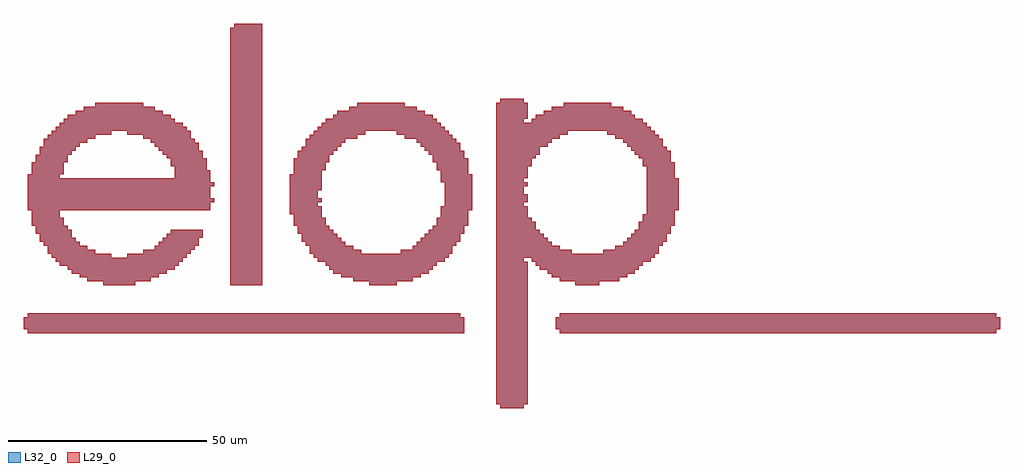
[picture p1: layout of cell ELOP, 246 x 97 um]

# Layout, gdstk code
import gdstk
lib = gdstk.Library(unit=1e-6, precision=1e-09)
def P(c, l, *ps):  # polygons
    for p in ps: c.add(gdstk.Polygon(p, *l))
L29_0 = (29, 0)
L32_0 = (32, 0)

elop = lib.new_cell('ELOP')
P(elop, L29_0, [(-125,-28.5),(-125,-27.5),(-126,-27.5),(-126,-24.5),(-125,-24.5),(-125,-23.5),(-16,-23.5),(-16,-24.5),(-15,-24.5),(-15,-28.5)],
  [(9,-28.5),(9,-27.5),(8,-27.5),(8,-24.5),(9,-24.5),(9,-23.5),(119,-23.5),(119,-24.5),(120,-24.5),(120,-27.5),(119,-27.5),(119,-28.5)],
  [(-106,-16.5),(-106,-15.5),(-110,-15.5),(-110,-14.5),(-112,-14.5),(-112,-13.5),(-114,-13.5),(-114,-12.5),(-115,-12.5),(-115,-11.5),(-117,-11.5),(-117,-10.5),(-118,-10.5),(-118,-9.5),(-119,-9.5),(-119,-8.5),(-120,-8.5),(-120,-6.5),(-121,-6.5),(-121,-5.5),(-122,-5.5),(-122,-3.5),(-123,-3.5),(-123,-1.5),(-124,-1.5),(-124,2.5),(-125,2.5),(-125,11.5),(-124,11.5),(-124,14.5),(-123,14.5),(-123,16.5),(-122,16.5),(-122,18.5),(-121,18.5),(-121,20.5),(-120,20.5),(-120,21.5),(-119,21.5),(-119,22.5),(-104,22.5),(-104,21.5),(-108,21.5),(-108,20.5),(-110,20.5),(-110,19.5),(-112,19.5),(-112,18.5),(-113,18.5),(-113,17.5),(-114,17.5),(-114,16.5),(-115,16.5),(-115,14.5),(-116,14.5),(-116,11.5),(-117,11.5),(-117,10.5),(-88,10.5),(-88,13.5),(-89,13.5),(-89,15.5),(-90,15.5),(-90,16.5),(-91,16.5),(-91,17.5),(-92,17.5),(-92,18.5),(-93,18.5),(-93,19.5),(-94,19.5),(-94,20.5),(-96,20.5),(-96,21.5),(-100,21.5),(-100,22.5),(-118,22.5),(-118,23.5),(-117,23.5),(-117,24.5),(-116,24.5),(-116,25.5),(-115,25.5),(-115,26.5),(-113,26.5),(-113,27.5),(-111,27.5),(-111,28.5),(-108,28.5),(-108,29.5),(-96,29.5),(-96,28.5),(-93,28.5),(-93,27.5),(-91,27.5),(-91,26.5),(-89,26.5),(-89,25.5),(-88,25.5),(-88,24.5),(-86,24.5),(-86,23.5),(-85,23.5),(-85,22.5),(-84,22.5),(-84,20.5),(-83,20.5),(-83,19.5),(-82,19.5),(-82,17.5),(-81,17.5),(-81,15.5),(-80,15.5),(-80,12.5),(-79,12.5),(-79,9.5),(-78,9.5),(-78,8.5),(-79,8.5),(-79,5.5),(-78,5.5),(-78,4.5),(-79,4.5),(-79,2.5),(-117,2.5),(-117,0.5),(-116,0.5),(-116,-1.5),(-115,-1.5),(-115,-2.5),(-114,-2.5),(-114,-4.5),(-113,-4.5),(-113,-5.5),(-112,-5.5),(-112,-6.5),(-110,-6.5),(-110,-7.5),(-108,-7.5),(-108,-8.5),(-104,-8.5),(-104,-9.5),(-100,-9.5),(-100,-8.5),(-96,-8.5),(-96,-7.5),(-93,-7.5),(-93,-6.5),(-92,-6.5),(-92,-5.5),(-91,-5.5),(-91,-4.5),(-90,-4.5),(-90,-3.5),(-89,-3.5),(-89,-2.5),(-81,-2.5),(-81,-4.5),(-82,-4.5),(-82,-6.5),(-83,-6.5),(-83,-7.5),(-84,-7.5),(-84,-8.5),(-85,-8.5),(-85,-9.5),(-86,-9.5),(-86,-10.5),(-87,-10.5),(-87,-11.5),(-88,-11.5),(-88,-12.5),(-90,-12.5),(-90,-13.5),(-92,-13.5),(-92,-14.5),(-94,-14.5),(-94,-15.5),(-98,-15.5),(-98,-16.5)],
  [(-39,-16.5),(-39,-15.5),(-43,-15.5),(-43,-14.5),(-46,-14.5),(-46,-13.5),(-48,-13.5),(-48,-12.5),(-49,-12.5),(-49,-11.5),(-50,-11.5),(-50,-10.5),(-52,-10.5),(-52,-9.5),(-53,-9.5),(-53,-8.5),(-54,-8.5),(-54,-6.5),(-55,-6.5),(-55,-5.5),(-56,-5.5),(-56,-3.5),(-57,-3.5),(-57,-1.5),(-58,-1.5),(-58,1.5),(-59,1.5),(-59,11.5),(-58,11.5),(-58,15.5),(-57,15.5),(-57,17.5),(-56,17.5),(-56,18.5),(-55,18.5),(-55,20.5),(-54,20.5),(-54,21.5),(-53,21.5),(-53,22.5),(-40,22.5),(-40,21.5),(-42,21.5),(-42,20.5),(-45,20.5),(-45,19.5),(-46,19.5),(-46,18.5),(-47,18.5),(-47,17.5),(-48,17.5),(-48,16.5),(-49,16.5),(-49,14.5),(-50,14.5),(-50,12.5),(-51,12.5),(-51,7.5),(-52,7.5),(-52,5.5),(-51,5.5),(-51,4.5),(-52,4.5),(-52,3.5),(-51,3.5),(-51,0.5),(-50,0.5),(-50,-1.5),(-49,-1.5),(-49,-2.5),(-48,-2.5),(-48,-3.5),(-47,-3.5),(-47,-4.5),(-46,-4.5),(-46,-5.5),(-45,-5.5),(-45,-6.5),(-43,-6.5),(-43,-7.5),(-41,-7.5),(-41,-8.5),(-31,-8.5),(-31,-7.5),(-28,-7.5),(-28,-6.5),(-27,-6.5),(-27,-5.5),(-26,-5.5),(-26,-4.5),(-25,-4.5),(-25,-3.5),(-24,-3.5),(-24,-2.5),(-23,-2.5),(-23,-1.5),(-22,-1.5),(-22,0.5),(-21,0.5),(-21,3.5),(-20,3.5),(-20,9.5),(-21,9.5),(-21,12.5),(-22,12.5),(-22,14.5),(-23,14.5),(-23,16.5),(-24,16.5),(-24,17.5),(-25,17.5),(-25,18.5),(-26,18.5),(-26,19.5),(-27,19.5),(-27,20.5),(-30,20.5),(-30,21.5),(-32,21.5),(-32,22.5),(-52,22.5),(-52,23.5),(-51,23.5),(-51,24.5),(-50,24.5),(-50,25.5),(-48,25.5),(-48,26.5),(-47,26.5),(-47,27.5),(-44,27.5),(-44,28.5),(-42,28.5),(-42,29.5),(-30,29.5),(-30,28.5),(-27,28.5),(-27,27.5),(-25,27.5),(-25,26.5),(-23,26.5),(-23,25.5),(-22,25.5),(-22,24.5),(-21,24.5),(-21,23.5),(-20,23.5),(-20,22.5),(-19,22.5),(-19,21.5),(-18,21.5),(-18,20.5),(-17,20.5),(-17,19.5),(-16,19.5),(-16,17.5),(-15,17.5),(-15,15.5),(-14,15.5),(-14,11.5),(-13,11.5),(-13,2.5),(-14,2.5),(-14,-1.5),(-15,-1.5),(-15,-3.5),(-16,-3.5),(-16,-5.5),(-17,-5.5),(-17,-6.5),(-18,-6.5),(-18,-8.5),(-19,-8.5),(-19,-9.5),(-20,-9.5),(-20,-10.5),(-22,-10.5),(-22,-11.5),(-23,-11.5),(-23,-12.5),(-24,-12.5),(-24,-13.5),(-26,-13.5),(-26,-14.5),(-28,-14.5),(-28,-15.5),(-32,-15.5),(-32,-16.5)],
  [(-6,-47.5),(-6,-46.5),(-7,-46.5),(-7,22.5),(11,22.5),(11,21.5),(9,21.5),(9,20.5),(7,20.5),(7,19.5),(6,19.5),(6,18.5),(4,18.5),(4,16.5),(3,16.5),(3,15.5),(2,15.5),(2,13.5),(1,13.5),(1,10.5),(0,10.5),(0,9.5),(1,9.5),(1,8.5),(0,8.5),(0,6.5),(1,6.5),(1,4.5),(0,4.5),(0,3.5),(1,3.5),(1,0.5),(2,0.5),(2,-0.5),(3,-0.5),(3,-2.5),(4,-2.5),(4,-3.5),(5,-3.5),(5,-4.5),(6,-4.5),(6,-5.5),(7,-5.5),(7,-6.5),(9,-6.5),(9,-7.5),(12,-7.5),(12,-8.5),(20,-8.5),(20,-7.5),(23,-7.5),(23,-6.5),(25,-6.5),(25,-5.5),(26,-5.5),(26,-4.5),(27,-4.5),(27,-3.5),(28,-3.5),(28,-2.5),(29,-2.5),(29,-0.5),(30,-0.5),(30,1.5),(31,1.5),(31,13.5),(30,13.5),(30,15.5),(29,15.5),(29,16.5),(28,16.5),(28,17.5),(27,17.5),(27,18.5),(26,18.5),(26,19.5),(25,19.5),(25,20.5),(23,20.5),(23,21.5),(21,21.5),(21,22.5),(-7,22.5),(-7,29.5),(-6,29.5),(-6,30.5),(0,30.5),(0,29.5),(1,29.5),(1,25.5),(0,25.5),(0,24.5),(2,24.5),(2,25.5),(3,25.5),(3,26.5),(5,26.5),(5,27.5),(7,27.5),(7,28.5),(10,28.5),(10,29.5),(22,29.5),(22,28.5),(25,28.5),(25,27.5),(27,27.5),(27,26.5),(28,26.5),(28,25.5),(30,25.5),(30,24.5),(31,24.5),(31,23.5),(32,23.5),(32,22.5),(33,22.5),(33,21.5),(34,21.5),(34,20.5),(35,20.5),(35,18.5),(36,18.5),(36,17.5),(37,17.5),(37,14.5),(38,14.5),(38,10.5),(39,10.5),(39,2.5),(38,2.5),(38,-1.5),(37,-1.5),(37,-3.5),(36,-3.5),(36,-5.5),(35,-5.5),(35,-6.5),(34,-6.5),(34,-8.5),(33,-8.5),(33,-9.5),(32,-9.5),(32,-10.5),(30,-10.5),(30,-11.5),(29,-11.5),(29,-12.5),(28,-12.5),(28,-13.5),(26,-13.5),(26,-14.5),(24,-14.5),(24,-15.5),(19,-15.5),(19,-16.5),(13,-16.5),(13,-15.5),(9,-15.5),(9,-14.5),(7,-14.5),(7,-13.5),(6,-13.5),(6,-12.5),(4,-12.5),(4,-11.5),(3,-11.5),(3,-10.5),(2,-10.5),(2,-9.5),(0,-9.5),(0,-10.5),(1,-10.5),(1,-46.5),(0,-46.5),(0,-47.5)],
  [(-74,-16.5),(-74,48.5),(-73,48.5),(-73,49.5),(-66,49.5),(-66,-16.5)])
P(elop, L32_0, [(-125,-28.5),(-125,-27.5),(-126,-27.5),(-126,-24.5),(-125,-24.5),(-125,-23.5),(-16,-23.5),(-16,-24.5),(-15,-24.5),(-15,-28.5)],
  [(9,-28.5),(9,-27.5),(8,-27.5),(8,-24.5),(9,-24.5),(9,-23.5),(119,-23.5),(119,-24.5),(120,-24.5),(120,-27.5),(119,-27.5),(119,-28.5)],
  [(-106,-16.5),(-106,-15.5),(-110,-15.5),(-110,-14.5),(-112,-14.5),(-112,-13.5),(-114,-13.5),(-114,-12.5),(-115,-12.5),(-115,-11.5),(-117,-11.5),(-117,-10.5),(-118,-10.5),(-118,-9.5),(-119,-9.5),(-119,-8.5),(-120,-8.5),(-120,-6.5),(-121,-6.5),(-121,-5.5),(-122,-5.5),(-122,-3.5),(-123,-3.5),(-123,-1.5),(-124,-1.5),(-124,2.5),(-125,2.5),(-125,11.5),(-124,11.5),(-124,14.5),(-123,14.5),(-123,16.5),(-122,16.5),(-122,18.5),(-121,18.5),(-121,20.5),(-120,20.5),(-120,21.5),(-119,21.5),(-119,22.5),(-104,22.5),(-104,21.5),(-108,21.5),(-108,20.5),(-110,20.5),(-110,19.5),(-112,19.5),(-112,18.5),(-113,18.5),(-113,17.5),(-114,17.5),(-114,16.5),(-115,16.5),(-115,14.5),(-116,14.5),(-116,11.5),(-117,11.5),(-117,10.5),(-88,10.5),(-88,13.5),(-89,13.5),(-89,15.5),(-90,15.5),(-90,16.5),(-91,16.5),(-91,17.5),(-92,17.5),(-92,18.5),(-93,18.5),(-93,19.5),(-94,19.5),(-94,20.5),(-96,20.5),(-96,21.5),(-100,21.5),(-100,22.5),(-118,22.5),(-118,23.5),(-117,23.5),(-117,24.5),(-116,24.5),(-116,25.5),(-115,25.5),(-115,26.5),(-113,26.5),(-113,27.5),(-111,27.5),(-111,28.5),(-108,28.5),(-108,29.5),(-96,29.5),(-96,28.5),(-93,28.5),(-93,27.5),(-91,27.5),(-91,26.5),(-89,26.5),(-89,25.5),(-88,25.5),(-88,24.5),(-86,24.5),(-86,23.5),(-85,23.5),(-85,22.5),(-84,22.5),(-84,20.5),(-83,20.5),(-83,19.5),(-82,19.5),(-82,17.5),(-81,17.5),(-81,15.5),(-80,15.5),(-80,12.5),(-79,12.5),(-79,9.5),(-78,9.5),(-78,8.5),(-79,8.5),(-79,5.5),(-78,5.5),(-78,4.5),(-79,4.5),(-79,2.5),(-117,2.5),(-117,0.5),(-116,0.5),(-116,-1.5),(-115,-1.5),(-115,-2.5),(-114,-2.5),(-114,-4.5),(-113,-4.5),(-113,-5.5),(-112,-5.5),(-112,-6.5),(-110,-6.5),(-110,-7.5),(-108,-7.5),(-108,-8.5),(-104,-8.5),(-104,-9.5),(-100,-9.5),(-100,-8.5),(-96,-8.5),(-96,-7.5),(-93,-7.5),(-93,-6.5),(-92,-6.5),(-92,-5.5),(-91,-5.5),(-91,-4.5),(-90,-4.5),(-90,-3.5),(-89,-3.5),(-89,-2.5),(-81,-2.5),(-81,-4.5),(-82,-4.5),(-82,-6.5),(-83,-6.5),(-83,-7.5),(-84,-7.5),(-84,-8.5),(-85,-8.5),(-85,-9.5),(-86,-9.5),(-86,-10.5),(-87,-10.5),(-87,-11.5),(-88,-11.5),(-88,-12.5),(-90,-12.5),(-90,-13.5),(-92,-13.5),(-92,-14.5),(-94,-14.5),(-94,-15.5),(-98,-15.5),(-98,-16.5)],
  [(-39,-16.5),(-39,-15.5),(-43,-15.5),(-43,-14.5),(-46,-14.5),(-46,-13.5),(-48,-13.5),(-48,-12.5),(-49,-12.5),(-49,-11.5),(-50,-11.5),(-50,-10.5),(-52,-10.5),(-52,-9.5),(-53,-9.5),(-53,-8.5),(-54,-8.5),(-54,-6.5),(-55,-6.5),(-55,-5.5),(-56,-5.5),(-56,-3.5),(-57,-3.5),(-57,-1.5),(-58,-1.5),(-58,1.5),(-59,1.5),(-59,11.5),(-58,11.5),(-58,15.5),(-57,15.5),(-57,17.5),(-56,17.5),(-56,18.5),(-55,18.5),(-55,20.5),(-54,20.5),(-54,21.5),(-53,21.5),(-53,22.5),(-40,22.5),(-40,21.5),(-42,21.5),(-42,20.5),(-45,20.5),(-45,19.5),(-46,19.5),(-46,18.5),(-47,18.5),(-47,17.5),(-48,17.5),(-48,16.5),(-49,16.5),(-49,14.5),(-50,14.5),(-50,12.5),(-51,12.5),(-51,7.5),(-52,7.5),(-52,5.5),(-51,5.5),(-51,4.5),(-52,4.5),(-52,3.5),(-51,3.5),(-51,0.5),(-50,0.5),(-50,-1.5),(-49,-1.5),(-49,-2.5),(-48,-2.5),(-48,-3.5),(-47,-3.5),(-47,-4.5),(-46,-4.5),(-46,-5.5),(-45,-5.5),(-45,-6.5),(-43,-6.5),(-43,-7.5),(-41,-7.5),(-41,-8.5),(-31,-8.5),(-31,-7.5),(-28,-7.5),(-28,-6.5),(-27,-6.5),(-27,-5.5),(-26,-5.5),(-26,-4.5),(-25,-4.5),(-25,-3.5),(-24,-3.5),(-24,-2.5),(-23,-2.5),(-23,-1.5),(-22,-1.5),(-22,0.5),(-21,0.5),(-21,3.5),(-20,3.5),(-20,9.5),(-21,9.5),(-21,12.5),(-22,12.5),(-22,14.5),(-23,14.5),(-23,16.5),(-24,16.5),(-24,17.5),(-25,17.5),(-25,18.5),(-26,18.5),(-26,19.5),(-27,19.5),(-27,20.5),(-30,20.5),(-30,21.5),(-32,21.5),(-32,22.5),(-52,22.5),(-52,23.5),(-51,23.5),(-51,24.5),(-50,24.5),(-50,25.5),(-48,25.5),(-48,26.5),(-47,26.5),(-47,27.5),(-44,27.5),(-44,28.5),(-42,28.5),(-42,29.5),(-30,29.5),(-30,28.5),(-27,28.5),(-27,27.5),(-25,27.5),(-25,26.5),(-23,26.5),(-23,25.5),(-22,25.5),(-22,24.5),(-21,24.5),(-21,23.5),(-20,23.5),(-20,22.5),(-19,22.5),(-19,21.5),(-18,21.5),(-18,20.5),(-17,20.5),(-17,19.5),(-16,19.5),(-16,17.5),(-15,17.5),(-15,15.5),(-14,15.5),(-14,11.5),(-13,11.5),(-13,2.5),(-14,2.5),(-14,-1.5),(-15,-1.5),(-15,-3.5),(-16,-3.5),(-16,-5.5),(-17,-5.5),(-17,-6.5),(-18,-6.5),(-18,-8.5),(-19,-8.5),(-19,-9.5),(-20,-9.5),(-20,-10.5),(-22,-10.5),(-22,-11.5),(-23,-11.5),(-23,-12.5),(-24,-12.5),(-24,-13.5),(-26,-13.5),(-26,-14.5),(-28,-14.5),(-28,-15.5),(-32,-15.5),(-32,-16.5)],
  [(-6,-47.5),(-6,-46.5),(-7,-46.5),(-7,22.5),(11,22.5),(11,21.5),(9,21.5),(9,20.5),(7,20.5),(7,19.5),(6,19.5),(6,18.5),(4,18.5),(4,16.5),(3,16.5),(3,15.5),(2,15.5),(2,13.5),(1,13.5),(1,10.5),(0,10.5),(0,9.5),(1,9.5),(1,8.5),(0,8.5),(0,6.5),(1,6.5),(1,4.5),(0,4.5),(0,3.5),(1,3.5),(1,0.5),(2,0.5),(2,-0.5),(3,-0.5),(3,-2.5),(4,-2.5),(4,-3.5),(5,-3.5),(5,-4.5),(6,-4.5),(6,-5.5),(7,-5.5),(7,-6.5),(9,-6.5),(9,-7.5),(12,-7.5),(12,-8.5),(20,-8.5),(20,-7.5),(23,-7.5),(23,-6.5),(25,-6.5),(25,-5.5),(26,-5.5),(26,-4.5),(27,-4.5),(27,-3.5),(28,-3.5),(28,-2.5),(29,-2.5),(29,-0.5),(30,-0.5),(30,1.5),(31,1.5),(31,13.5),(30,13.5),(30,15.5),(29,15.5),(29,16.5),(28,16.5),(28,17.5),(27,17.5),(27,18.5),(26,18.5),(26,19.5),(25,19.5),(25,20.5),(23,20.5),(23,21.5),(21,21.5),(21,22.5),(-7,22.5),(-7,29.5),(-6,29.5),(-6,30.5),(0,30.5),(0,29.5),(1,29.5),(1,25.5),(0,25.5),(0,24.5),(2,24.5),(2,25.5),(3,25.5),(3,26.5),(5,26.5),(5,27.5),(7,27.5),(7,28.5),(10,28.5),(10,29.5),(22,29.5),(22,28.5),(25,28.5),(25,27.5),(27,27.5),(27,26.5),(28,26.5),(28,25.5),(30,25.5),(30,24.5),(31,24.5),(31,23.5),(32,23.5),(32,22.5),(33,22.5),(33,21.5),(34,21.5),(34,20.5),(35,20.5),(35,18.5),(36,18.5),(36,17.5),(37,17.5),(37,14.5),(38,14.5),(38,10.5),(39,10.5),(39,2.5),(38,2.5),(38,-1.5),(37,-1.5),(37,-3.5),(36,-3.5),(36,-5.5),(35,-5.5),(35,-6.5),(34,-6.5),(34,-8.5),(33,-8.5),(33,-9.5),(32,-9.5),(32,-10.5),(30,-10.5),(30,-11.5),(29,-11.5),(29,-12.5),(28,-12.5),(28,-13.5),(26,-13.5),(26,-14.5),(24,-14.5),(24,-15.5),(19,-15.5),(19,-16.5),(13,-16.5),(13,-15.5),(9,-15.5),(9,-14.5),(7,-14.5),(7,-13.5),(6,-13.5),(6,-12.5),(4,-12.5),(4,-11.5),(3,-11.5),(3,-10.5),(2,-10.5),(2,-9.5),(0,-9.5),(0,-10.5),(1,-10.5),(1,-46.5),(0,-46.5),(0,-47.5)],
  [(-74,-16.5),(-74,48.5),(-73,48.5),(-73,49.5),(-66,49.5),(-66,-16.5)])

lib.write_gds('ELOP.gds')
